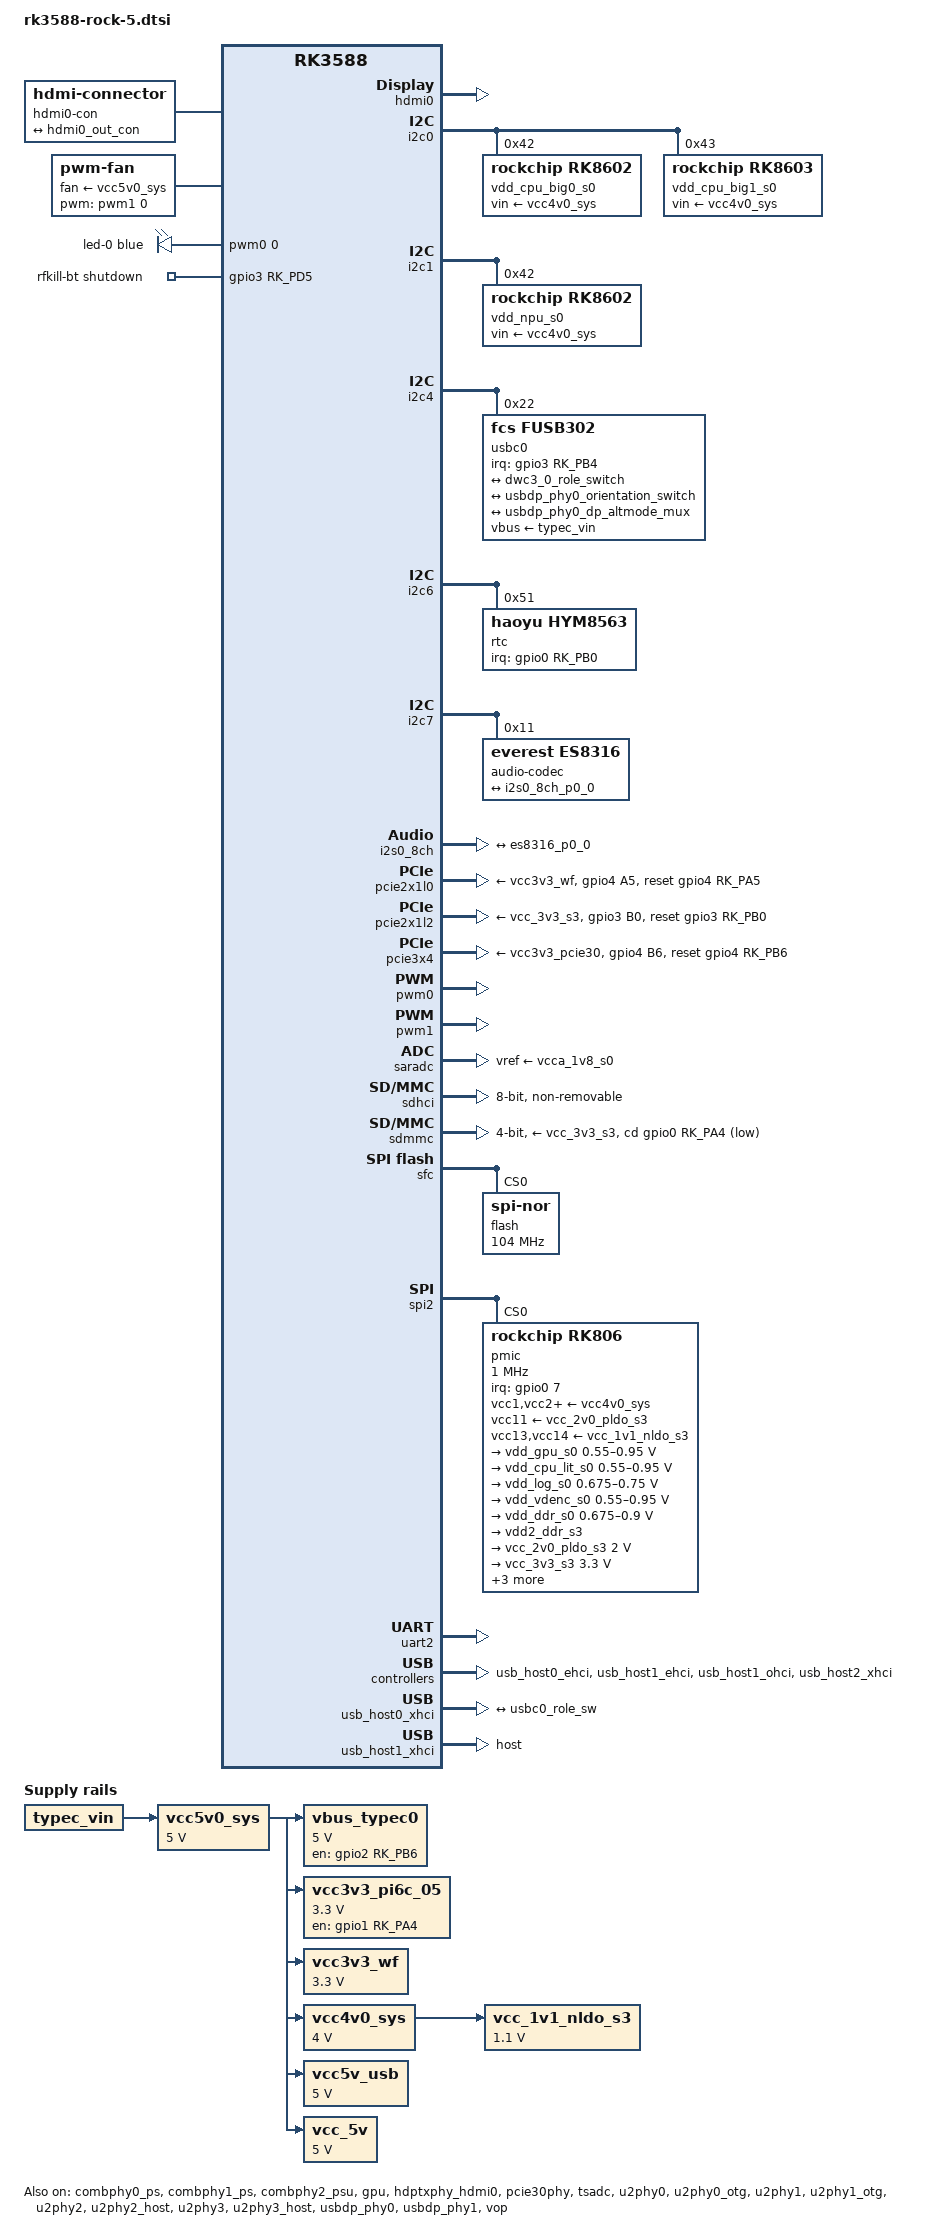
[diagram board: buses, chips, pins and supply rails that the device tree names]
// SPDX-License-Identifier: (GPL-2.0+ OR MIT)
/*
 * Copyright (c) 2024 Radxa Computer (Shenzhen) Co., Ltd.
 */

/dts-v1/;

#include <dt-bindings/gpio/gpio.h>
#include <dt-bindings/leds/common.h>
#include <dt-bindings/soc/rockchip,vop2.h>
#include <dt-bindings/usb/pd.h>
#include "rk3588.dtsi"

/ {
	aliases {
		mmc0 = &sdhci;
		mmc1 = &sdmmc;
	};

	chosen {
		stdout-path = "serial2:1500000n8";
	};

	analog-sound {
		compatible = "audio-graph-card";
		label = "rk3588-es8316";
		dais = <&i2s0_8ch_p0>;
		pinctrl-names = "default";
		pinctrl-0 = <&hp_detect>;
		routing = "MIC2", "Mic Jack",
			  "Headphones", "HPOL",
			  "Headphones", "HPOR";
		widgets = "Microphone", "Mic Jack",
			  "Headphone", "Headphones";
	};

	hdmi0-con {
		compatible = "hdmi-connector";
		type = "a";

		port {
			hdmi0_con_in: endpoint {
				remote-endpoint = <&hdmi0_out_con>;
			};
		};
	};

	fan: pwm-fan {
		compatible = "pwm-fan";
		#cooling-cells = <2>;
		cooling-levels = <0 64 128 192 255>;
		fan-supply = <&vcc5v0_sys>;
		pwms = <&pwm1 0 60000 0>;
	};

	leds: pwm-leds {
		compatible = "pwm-leds";

		led-0 {
			color = <LED_COLOR_ID_BLUE>;
			default-state = "on";
			function = LED_FUNCTION_STATUS;
			linux,default-trigger = "heartbeat";
			pwms = <&pwm0 0 1000000 0>;
			max-brightness = <255>;
		};
	};

	typec_vin: regulator-typec-vin {
		compatible = "regulator-fixed";
		regulator-name = "typec_vin";
		regulator-always-on;
		regulator-boot-on;
	};

	vbus_typec0: regulator-vbus-typec0 {
		compatible = "regulator-fixed";
		enable-active-high;
		gpios = <&gpio2 RK_PB6 GPIO_ACTIVE_HIGH>;
		pinctrl-names = "default";
		pinctrl-0 = <&typec5v_pwren_h>;
		regulator-name = "vbus_typec0";
		regulator-min-microvolt = <5000000>;
		regulator-max-microvolt = <5000000>;
		vin-supply = <&vcc5v0_sys>;
	};

	/* pi6c pcie clock generator */
	vcc3v3_pi6c_05: vcc3v3_pcie30: vcc3v3_pcie30_1: regulator-vcc3v3-pi6c-05 {
		compatible = "regulator-fixed";
		enable-active-high;
		gpios = <&gpio1 RK_PA4 GPIO_ACTIVE_HIGH>;
		pinctrl-names = "default";
		pinctrl-0 = <&pcie30x4_pwren_h>;
		regulator-name = "vcc3v3_pi6c_05";
		regulator-min-microvolt = <3300000>;
		regulator-max-microvolt = <3300000>;
		vin-supply = <&vcc5v0_sys>;
	};

	vcc3v3_wf: regulator-vcc3v3-wf {
		compatible = "regulator-fixed";
		enable-active-high;
		pinctrl-names = "default";
		pinctrl-0 = <&ekey_en>;
		regulator-name = "vcc3v3_wf";
		regulator-min-microvolt = <3300000>;
		regulator-max-microvolt = <3300000>;
		vin-supply = <&vcc5v0_sys>;
	};

	vcc4v0_sys: regulator-vcc4v0-sys {
		compatible = "regulator-fixed";
		regulator-name = "vcc4v0_sys";
		regulator-always-on;
		regulator-boot-on;
		regulator-min-microvolt = <4000000>;
		regulator-max-microvolt = <4000000>;
		vin-supply = <&vcc5v0_sys>;
	};

	vcc5v0_sys: regulator-vcc5v0-sys {
		compatible = "regulator-fixed";
		regulator-name = "vcc5v0_sys";
		regulator-always-on;
		regulator-boot-on;
		regulator-min-microvolt = <5000000>;
		regulator-max-microvolt = <5000000>;
		vin-supply = <&typec_vin>;
	};

	vcc5v_usb: regulator-vcc5v-usb {
		compatible = "regulator-fixed";
		enable-active-high;
		pinctrl-names = "default";
		pinctrl-0 = <&usb_host_pwren_h>;
		regulator-name = "vcc5v_usb";
		regulator-min-microvolt = <5000000>;
		regulator-max-microvolt = <5000000>;
		vin-supply = <&vcc5v0_sys>;
	};

	vcc_1v1_nldo_s3: regulator-vcc-1v1-nldo-s3 {
		compatible = "regulator-fixed";
		regulator-name = "vcc_1v1_nldo_s3";
		regulator-always-on;
		regulator-boot-on;
		regulator-min-microvolt = <1100000>;
		regulator-max-microvolt = <1100000>;
		vin-supply = <&vcc4v0_sys>;
	};

	vcc_5v: regulator-vcc-5v {
		compatible = "regulator-fixed";
		regulator-name = "vcc_5v";
		regulator-min-microvolt = <5000000>;
		regulator-max-microvolt = <5000000>;
		vin-supply = <&vcc5v0_sys>;
	};

	rfkill {
		compatible = "rfkill-gpio";
		radio-type = "wlan";
	};

	rfkill-bt {
		compatible = "rfkill-gpio";
		radio-type = "bluetooth";
		shutdown-gpios = <&gpio3 RK_PD5 GPIO_ACTIVE_HIGH>;
	};
};

&combphy0_ps {
	status = "okay";
};

&combphy1_ps {
	status = "okay";
};

&combphy2_psu {
	status = "okay";
};

&cpu_b0 {
	cpu-supply = <&vdd_cpu_big0_s0>;
};

&cpu_b1 {
	cpu-supply = <&vdd_cpu_big0_s0>;
};

&cpu_b2 {
	cpu-supply = <&vdd_cpu_big1_s0>;
};

&cpu_b3 {
	cpu-supply = <&vdd_cpu_big1_s0>;
};

&cpu_l0 {
	cpu-supply = <&vdd_cpu_lit_s0>;
};

&cpu_l1 {
	cpu-supply = <&vdd_cpu_lit_s0>;
};

&cpu_l2 {
	cpu-supply = <&vdd_cpu_lit_s0>;
};

&cpu_l3 {
	cpu-supply = <&vdd_cpu_lit_s0>;
};

&gpu {
	mali-supply = <&vdd_gpu_s0>;
	status = "okay";
};

&hdmi0 {
	status = "okay";
};

&hdmi0_in {
	hdmi0_in_vp0: endpoint {
		remote-endpoint = <&vp0_out_hdmi0>;
	};
};

&hdmi0_out {
	hdmi0_out_con: endpoint {
		remote-endpoint = <&hdmi0_con_in>;
	};
};

&hdptxphy_hdmi0 {
	status = "okay";
};

&i2c0 {
	pinctrl-names = "default";
	pinctrl-0 = <&i2c0m2_xfer>;
	status = "okay";

	vdd_cpu_big0_s0: regulator@42 {
		compatible = "rockchip,rk8602";
		reg = <0x42>;
		fcs,suspend-voltage-selector = <1>;
		regulator-name = "vdd_cpu_big0_s0";
		regulator-always-on;
		regulator-boot-on;
		regulator-min-microvolt = <550000>;
		regulator-max-microvolt = <1050000>;
		regulator-ramp-delay = <2300>;
		vin-supply = <&vcc4v0_sys>;

		regulator-state-mem {
			regulator-off-in-suspend;
		};
	};

	vdd_cpu_big1_s0: regulator@43 {
		compatible = "rockchip,rk8603", "rockchip,rk8602";
		reg = <0x43>;
		fcs,suspend-voltage-selector = <1>;
		regulator-name = "vdd_cpu_big1_s0";
		regulator-always-on;
		regulator-boot-on;
		regulator-min-microvolt = <550000>;
		regulator-max-microvolt = <1050000>;
		regulator-ramp-delay = <2300>;
		vin-supply = <&vcc4v0_sys>;

		regulator-state-mem {
			regulator-off-in-suspend;
		};
	};
};

&i2c1 {
	pinctrl-names = "default";
	pinctrl-0 = <&i2c1m2_xfer>;
	status = "okay";

	vdd_npu_s0: regulator@42 {
		compatible = "rockchip,rk8602";
		reg = <0x42>;
		fcs,suspend-voltage-selector = <1>;
		regulator-name = "vdd_npu_s0";
		regulator-always-on;
		regulator-boot-on;
		regulator-min-microvolt = <550000>;
		regulator-max-microvolt = <950000>;
		regulator-ramp-delay = <2300>;
		vin-supply = <&vcc4v0_sys>;

		regulator-state-mem {
			regulator-off-in-suspend;
		};
	};
};

&i2c4 {
	pinctrl-names = "default";
	pinctrl-0 = <&i2c4m1_xfer>;
	status = "okay";

	usbc0: usb-typec@22 {
		compatible = "fcs,fusb302";
		reg = <0x22>;
		interrupt-parent = <&gpio3>;
		interrupts = <RK_PB4 IRQ_TYPE_LEVEL_LOW>;
		pinctrl-names = "default";
		pinctrl-0 = <&cc_int_l>;
		vbus-supply = <&typec_vin>;

		usbc0_con: connector {
			compatible = "usb-c-connector";
			label = "USB-C";
			data-role = "dual";

			ports {
				#address-cells = <1>;
				#size-cells = <0>;

				port@0 {
					reg = <0>;
					usbc0_role_sw: endpoint {
						remote-endpoint = <&dwc3_0_role_switch>;
					};
				};

				port@1 {
					reg = <1>;
					usbc0_orien_sw: endpoint {
						remote-endpoint = <&usbdp_phy0_orientation_switch>;
					};
				};

				port@2 {
					reg = <2>;
					dp_altmode_mux: endpoint {
						remote-endpoint = <&usbdp_phy0_dp_altmode_mux>;
					};
				};
			};
		};
	};
};

&i2c6 {
	status = "okay";

	rtc@51 {
		compatible = "haoyu,hym8563";
		reg = <0x51>;
		#clock-cells = <0>;
		clock-output-names = "32kout_wifi";
		interrupt-parent = <&gpio0>;
		interrupts = <RK_PB0 IRQ_TYPE_LEVEL_LOW>;
		pinctrl-names = "default";
		pinctrl-0 = <&rtc_int_l>;
		wakeup-source;
	};
};

&i2c7 {
	status = "okay";

	audio-codec@11 {
		compatible = "everest,es8316";
		reg = <0x11>;
		assigned-clocks = <&cru I2S0_8CH_MCLKOUT>;
		assigned-clock-rates = <12288000>;
		clocks = <&cru I2S0_8CH_MCLKOUT>;
		clock-names = "mclk";
		#sound-dai-cells = <0>;

		port {
			es8316_p0_0: endpoint {
				remote-endpoint = <&i2s0_8ch_p0_0>;
			};
		};
	};
};

&i2s0_8ch {
	pinctrl-names = "default";
	pinctrl-0 = <&i2s0_lrck
		     &i2s0_mclk
		     &i2s0_sclk
		     &i2s0_sdi0
		     &i2s0_sdo0>;
	status = "okay";

	i2s0_8ch_p0: port {
		i2s0_8ch_p0_0: endpoint {
			dai-format = "i2s";
			mclk-fs = <256>;
			remote-endpoint = <&es8316_p0_0>;
		};
	};
};

&package_thermal {
	polling-delay = <1000>;

	trips {
		package_fan0: package-fan0 {
			hysteresis = <2000>;
			temperature = <55000>;
			type = "active";
		};

		package_fan1: package-fan1 {
			hysteresis = <2000>;
			temperature = <65000>;
			type = "active";
		};
	};

	cooling-maps {
		map0 {
			cooling-device = <&fan THERMAL_NO_LIMIT 1>;
			trip = <&package_fan0>;
		};

		map1 {
			cooling-device = <&fan 2 THERMAL_NO_LIMIT>;
			trip = <&package_fan1>;
		};
	};
};

&pcie2x1l0 {
	pinctrl-names = "default";
	pinctrl-0 = <&pcie30x1_0_perstn_m1_l>;
	reset-gpios = <&gpio4 RK_PA5 GPIO_ACTIVE_HIGH>;
	vpcie3v3-supply = <&vcc3v3_wf>;
	status = "okay";
};

&pcie2x1l2 {
	pinctrl-names = "default";
	pinctrl-0 = <&pcie_perst_l>;
	reset-gpios = <&gpio3 RK_PB0 GPIO_ACTIVE_HIGH>;
	vpcie3v3-supply = <&vcc_3v3_s3>;
	status = "okay";
};

&pcie30phy {
	phy-supply = <&vcc3v3_pi6c_05>;
	status = "okay";
};

&pcie3x4 {
	pinctrl-names = "default";
	pinctrl-0 = <&pcie30x4_perstn_m1_l>;
	reset-gpios = <&gpio4 RK_PB6 GPIO_ACTIVE_HIGH>;
	vpcie3v3-supply = <&vcc3v3_pcie30>;
	status = "okay";
};

&pinctrl {
	pcie2 {
		pcie30x1_0_perstn_m1_l: pcie30x1-0-perstn-m1-l {
			rockchip,pins = <4 RK_PA5 RK_FUNC_GPIO &pcfg_pull_none>;
		};

		pcie_perst_l: pcie-perst-l {
			rockchip,pins = <3 RK_PB0 RK_FUNC_GPIO &pcfg_pull_none>;
		};
	};

	pcie3 {
		pcie30x4_perstn_m1_l: pcie30x4-perstn-m1-l {
			rockchip,pins = <4 RK_PB6 RK_FUNC_GPIO &pcfg_pull_none>;
		};

		pcie30x4_pwren_h: pcie30x4-pwren-h {
			rockchip,pins = <1 RK_PA4 RK_FUNC_GPIO &pcfg_pull_none>;
		};
	};

	rtc {
		rtc_int_l: rtc-int-l {
			rockchip,pins = <0 RK_PB0 RK_FUNC_GPIO &pcfg_pull_none>;
		};
	};

	usb {
		cc_int_l: cc-int-l {
			rockchip,pins = <3 RK_PB4 RK_FUNC_GPIO &pcfg_pull_none>;
		};

		typec5v_pwren_h: typec5v-pwren-h {
			rockchip,pins = <2 RK_PB6 RK_FUNC_GPIO &pcfg_pull_none>;
		};
	};
};

&pwm0 {
	status = "okay";
};

&pwm1 {
	status = "okay";
};

&saradc {
	vref-supply = <&vcca_1v8_s0>;
	status = "okay";
};

&sdhci {
	bus-width = <8>;
	mmc-hs400-1_8v;
	mmc-hs400-enhanced-strobe;
	no-sdio;
	no-sd;
	non-removable;
	status = "okay";
};

&sdmmc {
	bus-width = <4>;
	cap-mmc-highspeed;
	cap-sd-highspeed;
	cd-gpios = <&gpio0 RK_PA4 GPIO_ACTIVE_LOW>;
	disable-wp;
	no-sdio;
	no-mmc;
	sd-uhs-sdr104;
	vmmc-supply = <&vcc_3v3_s3>;
	vqmmc-supply = <&vccio_sd_s0>;
	status = "okay";
};

&sfc {
	pinctrl-names = "default";
	pinctrl-0 = <&fspim2_pins>;
	status = "okay";

	flash@0 {
		compatible = "jedec,spi-nor";
		reg = <0>;
		spi-max-frequency = <104000000>;
		spi-rx-bus-width = <4>;
		spi-tx-bus-width = <1>;
	};
};

&spi2 {
	status = "okay";
	assigned-clocks = <&cru CLK_SPI2>;
	assigned-clock-rates = <200000000>;
	num-cs = <1>;
	pinctrl-names = "default";
	pinctrl-0 = <&spi2m2_cs0 &spi2m2_pins>;

	pmic@0 {
		compatible = "rockchip,rk806";
		reg = <0>;
		gpio-controller;
		#gpio-cells = <2>;
		interrupt-parent = <&gpio0>;
		interrupts = <7 IRQ_TYPE_LEVEL_LOW>;
		pinctrl-names = "default";
		pinctrl-0 = <&pmic_pins>, <&rk806_dvs1_null>,
			    <&rk806_dvs2_null>, <&rk806_dvs3_null>;
		spi-max-frequency = <1000000>;
		system-power-controller;

		vcc1-supply = <&vcc4v0_sys>;
		vcc2-supply = <&vcc4v0_sys>;
		vcc3-supply = <&vcc4v0_sys>;
		vcc4-supply = <&vcc4v0_sys>;
		vcc5-supply = <&vcc4v0_sys>;
		vcc6-supply = <&vcc4v0_sys>;
		vcc7-supply = <&vcc4v0_sys>;
		vcc8-supply = <&vcc4v0_sys>;
		vcc9-supply = <&vcc4v0_sys>;
		vcc10-supply = <&vcc4v0_sys>;
		vcc11-supply = <&vcc_2v0_pldo_s3>;
		vcc12-supply = <&vcc4v0_sys>;
		vcc13-supply = <&vcc_1v1_nldo_s3>;
		vcc14-supply = <&vcc_1v1_nldo_s3>;
		vcca-supply = <&vcc4v0_sys>;

		rk806_dvs1_null: dvs1-null-pins {
			pins = "gpio_pwrctrl1";
			function = "pin_fun0";
		};

		rk806_dvs2_null: dvs2-null-pins {
			pins = "gpio_pwrctrl2";
			function = "pin_fun0";
		};

		rk806_dvs3_null: dvs3-null-pins {
			pins = "gpio_pwrctrl3";
			function = "pin_fun0";
		};

		regulators {
			vdd_gpu_s0: dcdc-reg1 {
				regulator-name = "vdd_gpu_s0";
				regulator-boot-on;
				regulator-min-microvolt = <550000>;
				regulator-max-microvolt = <950000>;
				regulator-ramp-delay = <12500>;
				regulator-enable-ramp-delay = <400>;

				regulator-state-mem {
					regulator-off-in-suspend;
				};
			};

			vdd_cpu_lit_s0: dcdc-reg2 {
				regulator-name = "vdd_cpu_lit_s0";
				regulator-always-on;
				regulator-boot-on;
				regulator-min-microvolt = <550000>;
				regulator-max-microvolt = <950000>;
				regulator-ramp-delay = <12500>;

				regulator-state-mem {
					regulator-off-in-suspend;
				};
			};

			vdd_log_s0: dcdc-reg3 {
				regulator-name = "vdd_log_s0";
				regulator-always-on;
				regulator-boot-on;
				regulator-min-microvolt = <675000>;
				regulator-max-microvolt = <750000>;
				regulator-ramp-delay = <12500>;

				regulator-state-mem {
					regulator-on-in-suspend;
					regulator-suspend-microvolt = <750000>;
				};
			};

			vdd_vdenc_s0: dcdc-reg4 {
				regulator-name = "vdd_vdenc_s0";
				regulator-always-on;
				regulator-boot-on;
				regulator-min-microvolt = <550000>;
				regulator-max-microvolt = <950000>;
				regulator-ramp-delay = <12500>;

				regulator-state-mem {
					regulator-off-in-suspend;
				};
			};

			vdd_ddr_s0: dcdc-reg5 {
				regulator-name = "vdd_ddr_s0";
				regulator-always-on;
				regulator-boot-on;
				regulator-min-microvolt = <675000>;
				regulator-max-microvolt = <900000>;
				regulator-ramp-delay = <12500>;

				regulator-state-mem {
					regulator-off-in-suspend;
					regulator-suspend-microvolt = <850000>;
				};
			};

			vdd2_ddr_s3: dcdc-reg6 {
				regulator-name = "vdd2_ddr_s3";
				regulator-always-on;
				regulator-boot-on;

				regulator-state-mem {
					regulator-on-in-suspend;
				};
			};

			vcc_2v0_pldo_s3: dcdc-reg7 {
				regulator-name = "vcc_2v0_pldo_s3";
				regulator-always-on;
				regulator-boot-on;
				regulator-min-microvolt = <2000000>;
				regulator-max-microvolt = <2000000>;

				regulator-state-mem {
					regulator-on-in-suspend;
					regulator-suspend-microvolt = <2000000>;
				};
			};

			vcc_3v3_s3: dcdc-reg8 {
				regulator-name = "vcc_3v3_s3";
				regulator-always-on;
				regulator-boot-on;
				regulator-min-microvolt = <3300000>;
				regulator-max-microvolt = <3300000>;

				regulator-state-mem {
					regulator-on-in-suspend;
					regulator-suspend-microvolt = <3300000>;
				};
			};

			vddq_ddr_s0: dcdc-reg9 {
				regulator-name = "vddq_ddr_s0";
				regulator-always-on;
				regulator-boot-on;

				regulator-state-mem {
					regulator-off-in-suspend;
				};
			};

			vcc_1v8_s3: dcdc-reg10 {
				regulator-name = "vcc_1v8_s3";
				regulator-always-on;
				regulator-boot-on;
				regulator-min-microvolt = <1800000>;
				regulator-max-microvolt = <1800000>;

				regulator-state-mem {
					regulator-on-in-suspend;
					regulator-suspend-microvolt = <1800000>;
				};
			};

			vcca_1v8_s0: pldo-reg1 {
				regulator-name = "vcca_1v8_s0";
				regulator-always-on;
				regulator-boot-on;
				regulator-min-microvolt = <1800000>;
				regulator-max-microvolt = <1800000>;

				regulator-state-mem {
					regulator-on-in-suspend;
					regulator-suspend-microvolt = <1800000>;
				};
			};

			vcc_1v8_s0: pldo-reg2 {
				regulator-name = "vcc_1v8_s0";
				regulator-always-on;
				regulator-boot-on;
				regulator-min-microvolt = <1800000>;
				regulator-max-microvolt = <1800000>;

				regulator-state-mem {
					regulator-on-in-suspend;
					regulator-suspend-microvolt = <1800000>;
				};
			};

			vdda_1v2_s0: pldo-reg3 {
				regulator-name = "vdda_1v2_s0";
				regulator-always-on;
				regulator-boot-on;
				regulator-min-microvolt = <1200000>;
				regulator-max-microvolt = <1200000>;

				regulator-state-mem {
					regulator-off-in-suspend;
				};
			};

			vcca_3v3_s0: pldo-reg4 {
				regulator-name = "vcca_3v3_s0";
				regulator-always-on;
				regulator-boot-on;
				regulator-min-microvolt = <3300000>;
				regulator-max-microvolt = <3300000>;

				regulator-state-mem {
					regulator-on-in-suspend;
					regulator-suspend-microvolt = <3300000>;
				};
			};

			vccio_sd_s0: pldo-reg5 {
				regulator-name = "vccio_sd_s0";
				regulator-always-on;
				regulator-boot-on;
				regulator-min-microvolt = <1800000>;
				regulator-max-microvolt = <3300000>;

				regulator-state-mem {
					regulator-off-in-suspend;
				};
			};

			pldo6_s3: pldo-reg6 {
				regulator-name = "pldo6_s3";
				regulator-always-on;
				regulator-boot-on;
				regulator-min-microvolt = <1800000>;
				regulator-max-microvolt = <1800000>;

				regulator-state-mem {
					regulator-on-in-suspend;
					regulator-suspend-microvolt = <1800000>;
				};
			};

			vdd_0v75_s3: nldo-reg1 {
				regulator-name = "vdd_0v75_s3";
				regulator-always-on;
				regulator-boot-on;
				regulator-min-microvolt = <750000>;
				regulator-max-microvolt = <750000>;

				regulator-state-mem {
					regulator-on-in-suspend;
					regulator-suspend-microvolt = <750000>;
				};
			};

			vdda_ddr_pll_s0: nldo-reg2 {
				regulator-name = "vdda_ddr_pll_s0";
				regulator-always-on;
				regulator-boot-on;
				regulator-min-microvolt = <850000>;
				regulator-max-microvolt = <850000>;

				regulator-state-mem {
					regulator-on-in-suspend;
					regulator-suspend-microvolt = <850000>;
				};
			};

			vdda_0v75_s0: nldo-reg3 {
				regulator-name = "vdda_0v75_s0";
				regulator-always-on;
				regulator-boot-on;
				regulator-min-microvolt = <750000>;
				regulator-max-microvolt = <750000>;

				regulator-state-mem {
					regulator-on-in-suspend;
					regulator-suspend-microvolt = <750000>;
				};
			};

			vdda_0v85_s0: nldo-reg4 {
				regulator-name = "vdda_0v85_s0";
				regulator-always-on;
				regulator-boot-on;
				regulator-min-microvolt = <850000>;
				regulator-max-microvolt = <850000>;

				regulator-state-mem {
					regulator-off-in-suspend;
				};
			};

			vdd_0v75_s0: nldo-reg5 {
				regulator-name = "vdd_0v75_s0";
				regulator-always-on;
				regulator-boot-on;
				regulator-min-microvolt = <750000>;
				regulator-max-microvolt = <750000>;

				regulator-state-mem {
					regulator-off-in-suspend;
				};
			};
		};
	};
};

&tsadc {
	status = "okay";
};

&u2phy0 {
	status = "okay";
};

&u2phy0_otg {
	status = "okay";
};

&u2phy1 {
	status = "okay";
};

&u2phy1_otg {
	status = "okay";
};

&u2phy2 {
	status = "okay";
};

&u2phy2_host {
	status = "okay";
};

&u2phy3 {
	status = "okay";
};

&u2phy3_host {
	phy-supply = <&vcc5v_usb>;
	status = "okay";
};

&uart2 {
	pinctrl-0 = <&uart2m0_xfer>;
	status = "okay";
};

&usb_host0_ehci {
	status = "okay";
};

&usb_host0_xhci {
	usb-role-switch;
	status = "okay";

	port {
		#address-cells = <1>;
		#size-cells = <0>;

		dwc3_0_role_switch: endpoint {
			remote-endpoint = <&usbc0_role_sw>;
		};
	};
};

&usb_host1_ehci {
	status = "okay";
};

&usb_host1_ohci {
	status = "okay";
};

&usb_host1_xhci {
	dr_mode = "host";
	status = "okay";
};

&usb_host2_xhci {
	status = "okay";
};

&usbdp_phy0 {
	mode-switch;
	orientation-switch;
	status = "okay";

	port {
		#address-cells = <1>;
		#size-cells = <0>;

		usbdp_phy0_orientation_switch: endpoint@0 {
			reg = <0>;
			remote-endpoint = <&usbc0_orien_sw>;
		};

		usbdp_phy0_dp_altmode_mux: endpoint@1 {
			reg = <1>;
			remote-endpoint = <&dp_altmode_mux>;
		};
	};
};

&usbdp_phy1 {
	status = "okay";
};

&vop {
	status = "okay";
};

&vop_mmu {
	status = "okay";
};

&vp0 {
	vp0_out_hdmi0: endpoint@ROCKCHIP_VOP2_EP_HDMI0 {
		reg = <ROCKCHIP_VOP2_EP_HDMI0>;
		remote-endpoint = <&hdmi0_in_vp0>;
	};
};
